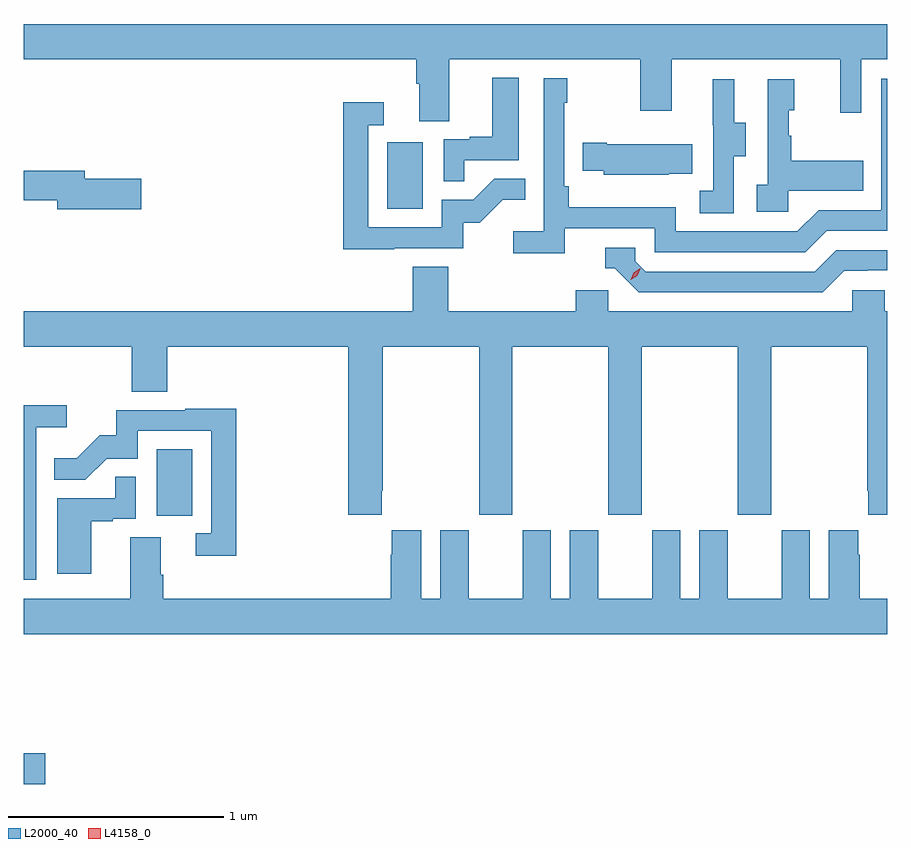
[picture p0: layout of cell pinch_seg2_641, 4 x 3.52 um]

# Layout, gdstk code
import gdstk
lib = gdstk.Library(unit=1e-6, precision=1e-09)
def R(c, l, rs):  # rectangles x0, y0, x1, y1
    for r in rs: c.add(gdstk.rectangle(r[:2], r[2:], *l))
def P(c, l, *ps):  # polygons
    for p in ps: c.add(gdstk.Polygon(p, *l))
L2000_40 = (2000, 40)
L4158_0 = (4158, 0)

pinch_seg2_641 = lib.new_cell('pinch_seg2_641')
R(pinch_seg2_641, L2000_40, [(1034.764,584.338,1034.863,584.48), (1035.38,585.582,1035.544,585.889), (1036.448,587.004,1036.612,587.311)])
P(pinch_seg2_641, L2000_40, [(1036.735,587.696),(1037.62,587.696),(1037.62,587.457),(1037.767,587.457),(1037.767,587.696),(1038.548,587.696),(1038.548,587.448),(1038.645,587.448),(1038.645,587.696),(1038.764,587.696),(1038.764,587.86),(1034.764,587.86),(1034.764,587.696),(1036.583,587.696),(1036.583,587.584),(1036.595,587.584),(1036.595,587.41),(1036.735,587.41)],
  [(1036.805,587.229),(1037.056,587.229),(1037.056,587.611),(1036.934,587.611),(1036.934,587.338),(1036.831,587.338),(1036.831,587.325),(1036.71,587.325),(1036.71,587.131),(1036.805,587.131)],
  [(1037.27,586.914),(1037.688,586.914),(1037.688,586.803),(1038.385,586.803),(1038.484,586.902),(1038.764,586.902),(1038.764,587.607),(1038.738,587.607),(1038.738,586.998),(1038.447,586.998),(1038.348,586.899),(1037.784,586.899),(1037.784,587.011),(1037.288,587.011),(1037.288,587.107),(1037.268,587.107),(1037.268,587.495),(1037.281,587.495),(1037.281,587.608),(1037.172,587.608),(1037.172,586.9),(1037.031,586.9),(1037.031,586.798),(1037.27,586.798)],
  [(1038.054,587.248),(1038.109,587.248),(1038.109,587.403),(1038.055,587.403),(1038.055,587.605),(1037.957,587.605),(1037.957,587.391),(1037.958,587.391),(1037.958,587.087),(1037.895,587.087),(1037.895,586.984),(1038.054,586.984)],
  [(1038.306,587.087),(1038.653,587.087),(1038.653,587.227),(1038.319,587.227),(1038.319,587.342),(1038.309,587.342),(1038.309,587.46),(1038.334,587.46),(1038.334,587.605),(1038.21,587.605),(1038.21,587.114),(1038.159,587.114),(1038.159,586.989),(1038.306,586.989)],
  [(1036.481,586.821),(1036.8,586.821),(1036.8,586.938),(1036.876,586.938),(1036.983,587.045),(1037.087,587.045),(1037.087,587.144),(1036.944,587.144),(1036.846,587.046),(1036.701,587.046),(1036.701,586.917),(1036.359,586.917),(1036.359,587.391),(1036.432,587.391),(1036.432,587.497),(1036.243,587.497),(1036.243,586.816),(1036.481,586.816)],
  [(1037.753,587.165),(1037.861,587.165),(1037.861,587.302),(1037.464,587.302),(1037.464,587.31),(1037.353,587.31),(1037.353,587.18),(1037.451,587.18),(1037.451,587.162),(1037.753,587.162)],
  [(1035.307,587.144),(1035.046,587.144),(1035.046,587.18),(1034.764,587.18),(1034.764,587.044),(1034.918,587.044),(1034.918,587.002),(1035.307,587.002)],
  [(1038.565,586.716),(1038.672,586.716),(1038.672,586.719),(1038.764,586.719),(1038.764,586.812),(1038.528,586.812),(1038.429,586.713),(1037.646,586.713),(1037.598,586.761),(1037.598,586.824),(1037.459,586.824),(1037.459,586.728),(1037.502,586.728),(1037.613,586.617),(1038.466,586.617)],
  [(1036.423,585.697),(1036.428,585.697),(1036.428,586.364),(1036.873,586.364),(1036.873,585.585),(1037.028,585.585),(1037.028,586.364),(1037.473,586.364),(1037.473,585.585),(1037.628,585.585),(1037.628,586.364),(1038.073,586.364),(1038.073,585.585),(1038.228,585.585),(1038.228,586.364),(1038.673,586.364),(1038.673,585.697),(1038.677,585.697),(1038.677,585.585),(1038.764,585.585),(1038.764,586.528),(1038.753,586.528),(1038.753,586.626),(1038.603,586.626),(1038.603,586.528),(1037.472,586.528),(1037.472,586.626),(1037.321,586.626),(1037.321,586.528),(1036.73,586.528),(1036.73,586.736),(1036.565,586.736),(1036.565,586.528),(1034.764,586.528),(1034.764,586.364),(1035.263,586.364),(1035.263,586.156),(1035.428,586.156),(1035.428,586.364),(1036.268,586.364),(1036.268,585.585),(1036.423,585.585)],
  [(1034.82,585.992),(1034.962,585.992),(1034.962,586.094),(1034.764,586.094),(1034.764,585.285),(1034.82,585.285)],
  [(1035.749,586.076),(1035.511,586.076),(1035.511,586.071),(1035.193,586.071),(1035.193,585.954),(1035.116,585.954),(1035.009,585.847),(1034.905,585.847),(1034.905,585.748),(1035.049,585.748),(1035.147,585.846),(1035.291,585.846),(1035.291,585.975),(1035.633,585.975),(1035.633,585.501),(1035.561,585.501),(1035.561,585.396),(1035.749,585.396)],
  [(1035.076,585.555),(1035.176,585.555),(1035.176,585.567),(1035.282,585.567),(1035.282,585.761),(1035.187,585.761),(1035.187,585.663),(1034.918,585.663),(1034.918,585.312),(1035.076,585.312)],
  [(1037.894,585.514),(1037.894,585.196),(1037.806,585.196),(1037.806,585.514),(1037.675,585.514),(1037.675,585.196),(1037.425,585.196),(1037.425,585.514),(1037.294,585.514),(1037.294,585.196),(1037.206,585.196),(1037.206,585.514),(1037.075,585.514),(1037.075,585.196),(1036.825,585.196),(1036.825,585.514),(1036.694,585.514),(1036.694,585.196),(1036.606,585.196),(1036.606,585.514),(1036.469,585.514),(1036.469,585.401),(1036.463,585.401),(1036.463,585.196),(1035.41,585.196),(1035.41,585.308),(1035.397,585.308),(1035.397,585.482),(1035.257,585.482),(1035.257,585.196),(1034.764,585.196),(1034.764,585.032),(1038.764,585.032),(1038.764,585.196),(1038.638,585.196),(1038.638,585.401),(1038.631,585.401),(1038.631,585.514),(1038.494,585.514),(1038.494,585.196),(1038.406,585.196),(1038.406,585.514),(1038.275,585.514),(1038.275,585.196),(1038.025,585.196),(1038.025,585.514)])
P(pinch_seg2_641, L4158_0, [(1037.575,586.675),(1037.575,586.675),(1037.591,586.707),(1037.621,586.727),(1037.621,586.727),(1037.621,586.726),(1037.606,586.694),(1037.576,586.675)])

lib.write_gds('pinch_seg2_641.gds')
